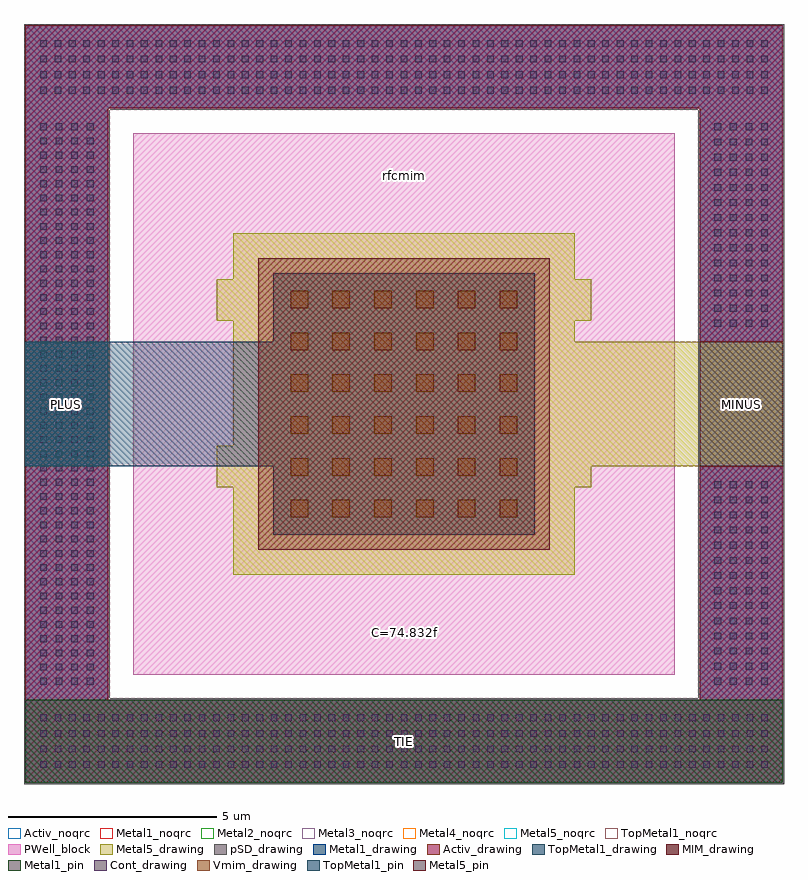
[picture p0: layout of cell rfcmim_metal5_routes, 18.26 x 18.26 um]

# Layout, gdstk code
import gdstk
lib = gdstk.Library(unit=1e-6, precision=1e-09)
def R(c, l, rs):  # rectangles x0, y0, x1, y1
    for r in rs: c.add(gdstk.rectangle(r[:2], r[2:], *l))
def A(c, l, x, y, w, h, nx, ny, dx, dy):  # array of equal rectangles
    R(c, l, [(x+i*dx, y+j*dy, x+i*dx+w, y+j*dy+h) for i in range(nx) for j in range(ny)])
def P(c, l, *ps):  # polygons
    for p in ps: c.add(gdstk.Polygon(p, *l))
Activ_drawing = (1, 0)
Activ_noqrc = (1, 28)
Cont_drawing = (6, 0)
Metal1_drawing = (8, 0)
Metal1_pin = (8, 2)
Metal1_noqrc = (8, 28)
Metal2_noqrc = (10, 28)
pSD_drawing = (14, 0)
Metal3_noqrc = (30, 28)
MIM_drawing = (36, 0)
PWell_block = (46, 21)
Metal4_noqrc = (50, 28)
Metal5_drawing = (67, 0)
Metal5_pin = (67, 2)
Metal5_noqrc = (67, 28)
TopMetal1_drawing = (126, 0)
TopMetal1_pin = (126, 2)
TopMetal1_noqrc = (126, 28)
Vmim_drawing = (129, 0)

route0 = lib.new_cell('ROUTE0')
R(route0, Metal5_drawing, [(-1,1.5,8,2.5)])

route1 = lib.new_cell('ROUTE1')
R(route1, Metal5_drawing, [(-1,5.5,8,6.5)])

rfcmim_metal5_routes = lib.new_cell('rfcmim_metal5_routes')
P(rfcmim_metal5_routes, Activ_drawing, [(-5.6,-5.6),(-5.6,12.6),(12.6,12.6),(12.6,5),(10.6,5),(10.6,10.6),(-3.6,10.6),(-3.6,-3.6),(10.6,-3.6),(10.6,2),(12.6,2),(12.6,-5.6)])
R(rfcmim_metal5_routes, Activ_noqrc, [(-5.6,-5.6,12.6,12.6)])
A(rfcmim_metal5_routes, Cont_drawing, -5.24, -5.24, 0.16, 0.16, 4, 2, 0.345, 0.37)
A(rfcmim_metal5_routes, Cont_drawing, -3.855, -5.24, 0.16, 0.16, 4, 2, 0.345, 0.37)
A(rfcmim_metal5_routes, Cont_drawing, -2.47, -5.24, 0.16, 0.16, 3, 2, 0.345, 0.37)
A(rfcmim_metal5_routes, Cont_drawing, -1.43, -5.24, 0.16, 0.16, 4, 2, 0.345, 0.37)
A(rfcmim_metal5_routes, Cont_drawing, -0.045, -5.24, 0.16, 0.16, 3, 2, 0.345, 0.37)
A(rfcmim_metal5_routes, Cont_drawing, 0.995, -5.24, 0.16, 0.16, 4, 2, 0.345, 0.37)
A(rfcmim_metal5_routes, Cont_drawing, 2.38, -5.24, 0.16, 0.16, 3, 2, 0.345, 0.37)
A(rfcmim_metal5_routes, Cont_drawing, 3.42, -5.24, 0.16, 0.16, 4, 2, 0.345, 0.37)
A(rfcmim_metal5_routes, Cont_drawing, 4.805, -5.24, 0.16, 0.16, 4, 2, 0.345, 0.37)
A(rfcmim_metal5_routes, Cont_drawing, 6.19, -5.24, 0.16, 0.16, 3, 2, 0.345, 0.37)
A(rfcmim_metal5_routes, Cont_drawing, 7.23, -5.24, 0.16, 0.16, 4, 2, 0.345, 0.37)
A(rfcmim_metal5_routes, Cont_drawing, 8.615, -5.24, 0.16, 0.16, 3, 2, 0.345, 0.37)
A(rfcmim_metal5_routes, Cont_drawing, 9.655, -5.24, 0.16, 0.16, 4, 2, 0.345, 0.37)
A(rfcmim_metal5_routes, Cont_drawing, 11.04, -5.24, 0.16, 0.16, 3, 2, 0.345, 0.37)
A(rfcmim_metal5_routes, Cont_drawing, 12.08, -4.87, 0.16, 0.16, 1, 3, 0, 0.375)
A(rfcmim_metal5_routes, Cont_drawing, -5.24, -4.495, 0.16, 0.16, 4, 2, 0.345, 0.375)
A(rfcmim_metal5_routes, Cont_drawing, -3.855, -4.495, 0.16, 0.16, 4, 2, 0.345, 0.375)
A(rfcmim_metal5_routes, Cont_drawing, -2.47, -4.495, 0.16, 0.16, 3, 2, 0.345, 0.375)
A(rfcmim_metal5_routes, Cont_drawing, -1.43, -4.495, 0.16, 0.16, 4, 2, 0.345, 0.375)
A(rfcmim_metal5_routes, Cont_drawing, -0.045, -4.495, 0.16, 0.16, 3, 2, 0.345, 0.375)
A(rfcmim_metal5_routes, Cont_drawing, 0.995, -4.495, 0.16, 0.16, 4, 2, 0.345, 0.375)
A(rfcmim_metal5_routes, Cont_drawing, 2.38, -4.495, 0.16, 0.16, 3, 2, 0.345, 0.375)
A(rfcmim_metal5_routes, Cont_drawing, 3.42, -4.495, 0.16, 0.16, 4, 2, 0.345, 0.375)
A(rfcmim_metal5_routes, Cont_drawing, 4.805, -4.495, 0.16, 0.16, 4, 2, 0.345, 0.375)
A(rfcmim_metal5_routes, Cont_drawing, 6.19, -4.495, 0.16, 0.16, 3, 2, 0.345, 0.375)
A(rfcmim_metal5_routes, Cont_drawing, 7.23, -4.495, 0.16, 0.16, 4, 2, 0.345, 0.375)
A(rfcmim_metal5_routes, Cont_drawing, 8.615, -4.495, 0.16, 0.16, 3, 2, 0.345, 0.375)
A(rfcmim_metal5_routes, Cont_drawing, 9.655, -4.495, 0.16, 0.16, 4, 2, 0.345, 0.375)
A(rfcmim_metal5_routes, Cont_drawing, 11.04, -4.495, 0.16, 0.16, 3, 2, 0.345, 0.375)
A(rfcmim_metal5_routes, Cont_drawing, -5.24, -3.24, 0.16, 0.16, 1, 4, 0, 0.34)
A(rfcmim_metal5_routes, Cont_drawing, -4.87, -3.24, 0.16, 0.16, 3, 4, 0.375, 0.34)
A(rfcmim_metal5_routes, Cont_drawing, 11.33, -3.24, 0.16, 0.16, 3, 2, 0.375, 0.36)
A(rfcmim_metal5_routes, Cont_drawing, 11.33, -2.515, 0.16, 0.16, 3, 2, 0.375, 0.36)
A(rfcmim_metal5_routes, Cont_drawing, 10.96, -2.155, 0.16, 0.16, 1, 3, 0, 0.365)
A(rfcmim_metal5_routes, Cont_drawing, -5.24, -1.875, 0.16, 0.16, 1, 3, 0, 0.34)
A(rfcmim_metal5_routes, Cont_drawing, -4.87, -1.875, 0.16, 0.16, 3, 3, 0.375, 0.34)
A(rfcmim_metal5_routes, Cont_drawing, 11.33, -1.79, 0.16, 0.16, 3, 2, 0.375, 0.365)
A(rfcmim_metal5_routes, Cont_drawing, 11.33, -1.065, 0.16, 0.16, 3, 2, 0.375, 0.365)
A(rfcmim_metal5_routes, Cont_drawing, -5.24, -0.85, 0.16, 0.16, 1, 3, 0, 0.34)
A(rfcmim_metal5_routes, Cont_drawing, -4.87, -0.85, 0.16, 0.16, 3, 3, 0.375, 0.34)
A(rfcmim_metal5_routes, Cont_drawing, 10.96, -0.34, 0.16, 0.16, 1, 3, 0, 0.365)
A(rfcmim_metal5_routes, Cont_drawing, 11.33, -0.34, 0.16, 0.16, 3, 3, 0.375, 0.365)
A(rfcmim_metal5_routes, Cont_drawing, -5.24, 0.175, 0.16, 0.16, 1, 3, 0, 0.34)
A(rfcmim_metal5_routes, Cont_drawing, -4.87, 0.175, 0.16, 0.16, 3, 3, 0.375, 0.34)
A(rfcmim_metal5_routes, Cont_drawing, 10.96, 0.75, 0.16, 0.16, 1, 3, 0, 0.365)
A(rfcmim_metal5_routes, Cont_drawing, 11.33, 0.75, 0.16, 0.16, 3, 3, 0.375, 0.365)
A(rfcmim_metal5_routes, Cont_drawing, -5.24, 1.2, 0.16, 0.16, 1, 4, 0, 0.34)
A(rfcmim_metal5_routes, Cont_drawing, -4.87, 1.2, 0.16, 0.16, 3, 4, 0.375, 0.34)
A(rfcmim_metal5_routes, Cont_drawing, -5.24, 2.565, 0.16, 0.16, 1, 3, 0, 0.34)
A(rfcmim_metal5_routes, Cont_drawing, -4.87, 2.565, 0.16, 0.16, 3, 3, 0.375, 0.34)
A(rfcmim_metal5_routes, Cont_drawing, -5.24, 3.59, 0.16, 0.16, 1, 3, 0, 0.34)
A(rfcmim_metal5_routes, Cont_drawing, -4.87, 3.59, 0.16, 0.16, 3, 3, 0.375, 0.34)
A(rfcmim_metal5_routes, Cont_drawing, -5.24, 4.615, 0.16, 0.16, 1, 3, 0, 0.34)
A(rfcmim_metal5_routes, Cont_drawing, -4.87, 4.615, 0.16, 0.16, 3, 3, 0.375, 0.34)
A(rfcmim_metal5_routes, Cont_drawing, 11.33, 5.36, 0.16, 0.16, 3, 2, 0.375, 0.36)
A(rfcmim_metal5_routes, Cont_drawing, -5.24, 5.64, 0.16, 0.16, 1, 4, 0, 0.34)
A(rfcmim_metal5_routes, Cont_drawing, -4.87, 5.64, 0.16, 0.16, 3, 4, 0.375, 0.34)
A(rfcmim_metal5_routes, Cont_drawing, 11.33, 6.085, 0.16, 0.16, 3, 2, 0.375, 0.36)
A(rfcmim_metal5_routes, Cont_drawing, 10.96, 6.445, 0.16, 0.16, 1, 3, 0, 0.365)
A(rfcmim_metal5_routes, Cont_drawing, 11.33, 6.81, 0.16, 0.16, 3, 2, 0.375, 0.365)
A(rfcmim_metal5_routes, Cont_drawing, -5.24, 7.005, 0.16, 0.16, 1, 3, 0, 0.34)
A(rfcmim_metal5_routes, Cont_drawing, -4.87, 7.005, 0.16, 0.16, 3, 3, 0.375, 0.34)
A(rfcmim_metal5_routes, Cont_drawing, 11.33, 7.535, 0.16, 0.16, 3, 2, 0.375, 0.365)
A(rfcmim_metal5_routes, Cont_drawing, -5.24, 8.03, 0.16, 0.16, 1, 3, 0, 0.34)
A(rfcmim_metal5_routes, Cont_drawing, -4.87, 8.03, 0.16, 0.16, 3, 3, 0.375, 0.34)
A(rfcmim_metal5_routes, Cont_drawing, 10.96, 8.26, 0.16, 0.16, 1, 3, 0, 0.365)
A(rfcmim_metal5_routes, Cont_drawing, 11.33, 8.26, 0.16, 0.16, 3, 3, 0.375, 0.365)
A(rfcmim_metal5_routes, Cont_drawing, -5.24, 9.055, 0.16, 0.16, 1, 3, 0, 0.34)
A(rfcmim_metal5_routes, Cont_drawing, -4.87, 9.055, 0.16, 0.16, 3, 3, 0.375, 0.34)
A(rfcmim_metal5_routes, Cont_drawing, 10.96, 9.35, 0.16, 0.16, 1, 3, 0, 0.365)
A(rfcmim_metal5_routes, Cont_drawing, 11.33, 9.35, 0.16, 0.16, 3, 3, 0.375, 0.365)
A(rfcmim_metal5_routes, Cont_drawing, -4.87, 10.08, 0.16, 0.16, 3, 1, 0.375, 0)
A(rfcmim_metal5_routes, Cont_drawing, -5.24, 10.96, 0.16, 0.16, 4, 2, 0.345, 0.37)
A(rfcmim_metal5_routes, Cont_drawing, -3.855, 10.96, 0.16, 0.16, 4, 2, 0.345, 0.37)
A(rfcmim_metal5_routes, Cont_drawing, -2.47, 10.96, 0.16, 0.16, 3, 2, 0.345, 0.37)
A(rfcmim_metal5_routes, Cont_drawing, -1.43, 10.96, 0.16, 0.16, 4, 2, 0.345, 0.37)
A(rfcmim_metal5_routes, Cont_drawing, -0.045, 10.96, 0.16, 0.16, 3, 2, 0.345, 0.37)
A(rfcmim_metal5_routes, Cont_drawing, 0.995, 10.96, 0.16, 0.16, 4, 2, 0.345, 0.37)
A(rfcmim_metal5_routes, Cont_drawing, 2.38, 10.96, 0.16, 0.16, 3, 2, 0.345, 0.37)
A(rfcmim_metal5_routes, Cont_drawing, 3.42, 10.96, 0.16, 0.16, 4, 2, 0.345, 0.37)
A(rfcmim_metal5_routes, Cont_drawing, 4.805, 10.96, 0.16, 0.16, 4, 2, 0.345, 0.37)
A(rfcmim_metal5_routes, Cont_drawing, 6.19, 10.96, 0.16, 0.16, 3, 2, 0.345, 0.37)
A(rfcmim_metal5_routes, Cont_drawing, 7.23, 10.96, 0.16, 0.16, 4, 2, 0.345, 0.37)
A(rfcmim_metal5_routes, Cont_drawing, 8.615, 10.96, 0.16, 0.16, 3, 2, 0.345, 0.37)
A(rfcmim_metal5_routes, Cont_drawing, 9.655, 10.96, 0.16, 0.16, 4, 2, 0.345, 0.37)
A(rfcmim_metal5_routes, Cont_drawing, 11.04, 10.96, 0.16, 0.16, 3, 2, 0.345, 0.37)
A(rfcmim_metal5_routes, Cont_drawing, 12.08, 11.33, 0.16, 0.16, 1, 3, 0, 0.375)
A(rfcmim_metal5_routes, Cont_drawing, -5.24, 11.705, 0.16, 0.16, 4, 2, 0.345, 0.375)
A(rfcmim_metal5_routes, Cont_drawing, -3.855, 11.705, 0.16, 0.16, 4, 2, 0.345, 0.375)
A(rfcmim_metal5_routes, Cont_drawing, -2.47, 11.705, 0.16, 0.16, 3, 2, 0.345, 0.375)
A(rfcmim_metal5_routes, Cont_drawing, -1.43, 11.705, 0.16, 0.16, 4, 2, 0.345, 0.375)
A(rfcmim_metal5_routes, Cont_drawing, -0.045, 11.705, 0.16, 0.16, 3, 2, 0.345, 0.375)
A(rfcmim_metal5_routes, Cont_drawing, 0.995, 11.705, 0.16, 0.16, 4, 2, 0.345, 0.375)
A(rfcmim_metal5_routes, Cont_drawing, 2.38, 11.705, 0.16, 0.16, 3, 2, 0.345, 0.375)
A(rfcmim_metal5_routes, Cont_drawing, 3.42, 11.705, 0.16, 0.16, 4, 2, 0.345, 0.375)
A(rfcmim_metal5_routes, Cont_drawing, 4.805, 11.705, 0.16, 0.16, 4, 2, 0.345, 0.375)
A(rfcmim_metal5_routes, Cont_drawing, 6.19, 11.705, 0.16, 0.16, 3, 2, 0.345, 0.375)
A(rfcmim_metal5_routes, Cont_drawing, 7.23, 11.705, 0.16, 0.16, 4, 2, 0.345, 0.375)
A(rfcmim_metal5_routes, Cont_drawing, 8.615, 11.705, 0.16, 0.16, 3, 2, 0.345, 0.375)
A(rfcmim_metal5_routes, Cont_drawing, 9.655, 11.705, 0.16, 0.16, 4, 2, 0.345, 0.375)
A(rfcmim_metal5_routes, Cont_drawing, 11.04, 11.705, 0.16, 0.16, 3, 2, 0.345, 0.375)
R(rfcmim_metal5_routes, Cont_drawing, [(12.08,-5.24,12.24,-5.08), (10.96,-3.24,11.12,-3.08), (10.96,-2.88,11.12,-2.72), (10.96,-2.515,11.12,-2.355), (10.96,-1.065,11.12,-0.905), (10.96,-0.7,11.12,-0.54), (10.96,5.36,11.12,5.52), (10.96,5.72,11.12,5.88), (10.96,6.085,11.12,6.245), (10.96,7.535,11.12,7.695), (10.96,7.9,11.12,8.06), (-5.24,10.08,-5.08,10.24), (12.08,10.96,12.24,11.12)])
P(rfcmim_metal5_routes, Metal1_drawing, [(-5.6,-5.6),(-5.6,12.6),(12.6,12.6),(12.6,5),(10.6,5),(10.6,10.6),(-3.6,10.6),(-3.6,-3.6),(10.6,-3.6),(10.6,2),(12.6,2),(12.6,-5.6)])
R(rfcmim_metal5_routes, Metal1_pin, [(-5.6,-5.6,12.6,-3.6)])
R(rfcmim_metal5_routes, Metal1_noqrc, [(-5.6,-5.6,12.6,12.6)])
R(rfcmim_metal5_routes, Metal2_noqrc, [(-5.6,-5.6,12.6,12.6)])
P(rfcmim_metal5_routes, pSD_drawing, [(-5.63,-5.63),(-5.63,12.63),(10.57,12.63),(10.57,10.57),(-3.57,10.57),(-3.57,-3.57),(10.57,-3.57),(10.57,12.63),(12.63,12.63),(12.63,-5.63)])
R(rfcmim_metal5_routes, Metal3_noqrc, [(-5.6,-5.6,12.6,12.6)])
R(rfcmim_metal5_routes, MIM_drawing, [(0,0,7,7)])
R(rfcmim_metal5_routes, PWell_block, [(-3,-3,10,10)])
R(rfcmim_metal5_routes, Metal4_noqrc, [(-5.6,-5.6,12.6,12.6)])
R(rfcmim_metal5_routes, Metal5_drawing, [(-0.6,-0.6,7.6,7.6), (-0.6,-0.6,7.6,7.6), (7.6,2,12.6,5)])
R(rfcmim_metal5_routes, Metal5_pin, [(10.6,2,12.6,5)])
R(rfcmim_metal5_routes, Metal5_noqrc, [(-5.6,-5.6,12.6,12.6)])
R(rfcmim_metal5_routes, TopMetal1_drawing, [(0.36,0.36,6.64,6.64), (-5.6,2,0.36,5)])
R(rfcmim_metal5_routes, TopMetal1_pin, [(-5.6,2,-3.6,5)])
R(rfcmim_metal5_routes, TopMetal1_noqrc, [(-5.6,-5.6,12.6,12.6)])
A(rfcmim_metal5_routes, Vmim_drawing, 1.78, 0.78, 0.42, 0.42, 5, 2, 1.005, 1)
A(rfcmim_metal5_routes, Vmim_drawing, 0.78, 1.78, 0.42, 0.42, 1, 5, 0, 1.005)
A(rfcmim_metal5_routes, Vmim_drawing, 1.78, 2.785, 0.42, 0.42, 5, 4, 1.005, 1.005)
R(rfcmim_metal5_routes, Vmim_drawing, [(0.78,0.78,1.2,1.2)])
rfcmim_metal5_routes.add(gdstk.Reference(route0, (0,0)))
rfcmim_metal5_routes.add(gdstk.Reference(route1, (0,0)))
rfcmim_metal5_routes.add(gdstk.Label('C=74.832f', (3.5,-2), layer=63, texttype=0))
rfcmim_metal5_routes.add(gdstk.Label('rfcmim', (3.5,9), layer=63, texttype=0))
rfcmim_metal5_routes.add(gdstk.Label('TIE', (3.5,-4.6), layer=63, texttype=0))
rfcmim_metal5_routes.add(gdstk.Label('MINUS', (11.6,3.5), layer=63, texttype=0))
rfcmim_metal5_routes.add(gdstk.Label('PLUS', (-4.6,3.5), layer=63, texttype=0))
rfcmim_metal5_routes.add(gdstk.Label('PLUS', (-4.6,3.5), layer=126, texttype=25))
rfcmim_metal5_routes.add(gdstk.Label('MINUS', (11.6,3.5), layer=67, texttype=25))

lib.write_gds('rfcmim_metal5_routes.gds')
